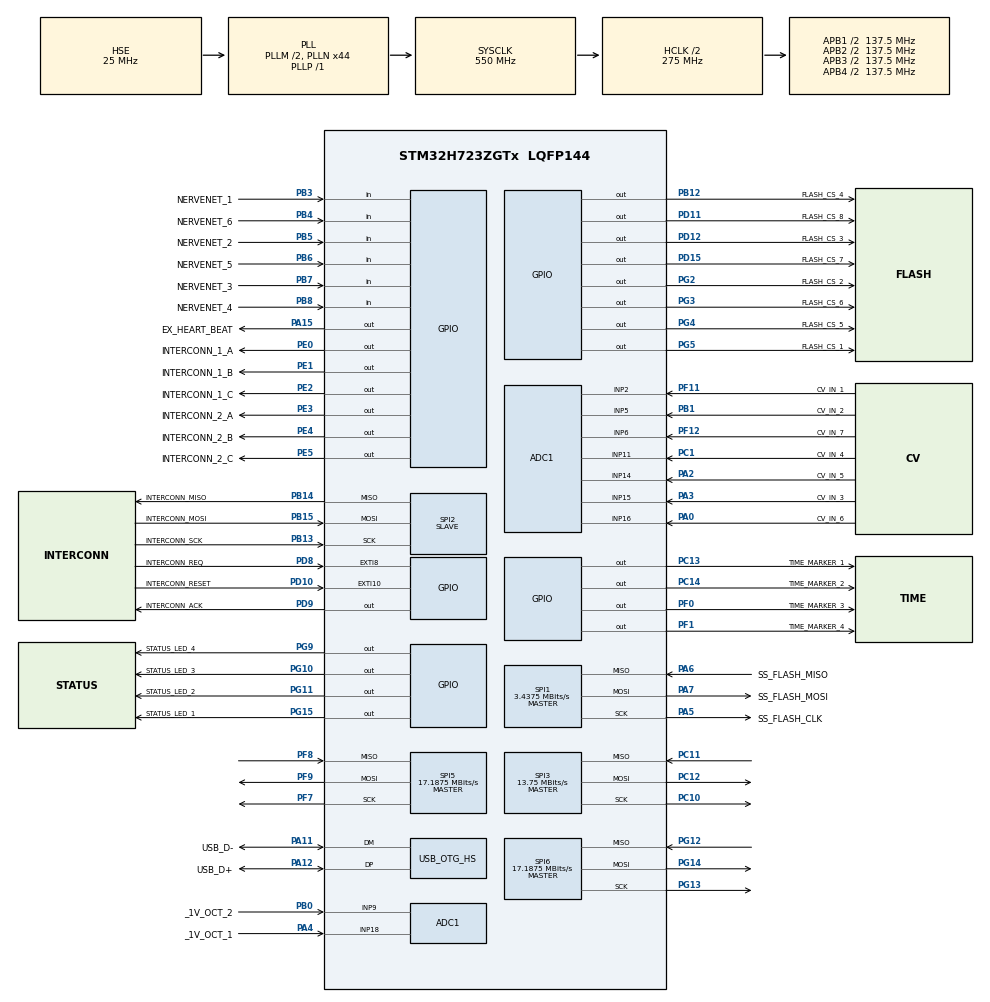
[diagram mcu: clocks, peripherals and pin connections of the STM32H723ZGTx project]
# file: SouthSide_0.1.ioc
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ADC1.Channel-0\#ChannelRegularConversion=ADC_CHANNEL_18
ADC1.Channel-1\#ChannelRegularConversion=ADC_CHANNEL_9
ADC1.Channel-2\#ChannelRegularConversion=ADC_CHANNEL_2
ADC1.Channel-3\#ChannelRegularConversion=ADC_CHANNEL_5
ADC1.Channel-4\#ChannelRegularConversion=ADC_CHANNEL_15
ADC1.Channel-5\#ChannelRegularConversion=ADC_CHANNEL_11
ADC1.Channel-6\#ChannelRegularConversion=ADC_CHANNEL_14
ADC1.Channel-7\#ChannelRegularConversion=ADC_CHANNEL_16
ADC1.Channel-8\#ChannelRegularConversion=ADC_CHANNEL_6
ADC1.ClockPrescaler=ADC_CLOCK_ASYNC_DIV4
ADC1.ContinuousConvMode=ENABLE
ADC1.ConversionDataManagement=ADC_CONVERSIONDATA_DMA_ONESHOT
ADC1.EOCSelection=ADC_EOC_SEQ_CONV
ADC1.ExternalTrigConv=ADC_SOFTWARE_START
ADC1.NbrOfConversion=9
ADC1.NbrOfConversionFlag=1
ADC1.OffsetNumber-0\#ChannelRegularConversion=ADC_OFFSET_NONE
ADC1.OffsetNumber-1\#ChannelRegularConversion=ADC_OFFSET_NONE
ADC1.OffsetNumber-2\#ChannelRegularConversion=ADC_OFFSET_NONE
ADC1.OffsetNumber-3\#ChannelRegularConversion=ADC_OFFSET_NONE
ADC1.OffsetNumber-4\#ChannelRegularConversion=ADC_OFFSET_NONE
ADC1.OffsetNumber-5\#ChannelRegularConversion=ADC_OFFSET_NONE
ADC1.OffsetNumber-6\#ChannelRegularConversion=ADC_OFFSET_NONE
ADC1.OffsetNumber-7\#ChannelRegularConversion=ADC_OFFSET_NONE
ADC1.OffsetNumber-8\#ChannelRegularConversion=ADC_OFFSET_NONE
ADC1.OffsetSignedSaturation-0\#ChannelRegularConversion=DISABLE
ADC1.OffsetSignedSaturation-1\#ChannelRegularConversion=DISABLE
ADC1.OffsetSignedSaturation-2\#ChannelRegularConversion=DISABLE
ADC1.OffsetSignedSaturation-3\#ChannelRegularConversion=DISABLE
ADC1.OffsetSignedSaturation-4\#ChannelRegularConversion=DISABLE
ADC1.OffsetSignedSaturation-5\#ChannelRegularConversion=DISABLE
ADC1.OffsetSignedSaturation-6\#ChannelRegularConversion=DISABLE
ADC1.OffsetSignedSaturation-7\#ChannelRegularConversion=DISABLE
ADC1.OffsetSignedSaturation-8\#ChannelRegularConversion=DISABLE
ADC1.Rank-0\#ChannelRegularConversion=1
ADC1.Rank-1\#ChannelRegularConversion=2
ADC1.Rank-2\#ChannelRegularConversion=3
ADC1.Rank-3\#ChannelRegularConversion=4
ADC1.Rank-4\#ChannelRegularConversion=5
ADC1.Rank-5\#ChannelRegularConversion=6
ADC1.Rank-6\#ChannelRegularConversion=7
ADC1.Rank-7\#ChannelRegularConversion=8
ADC1.Rank-8\#ChannelRegularConversion=9
ADC1.SamplingTime-0\#ChannelRegularConversion=ADC_SAMPLETIME_64CYCLES_5
ADC1.SamplingTime-1\#ChannelRegularConversion=ADC_SAMPLETIME_64CYCLES_5
ADC1.SamplingTime-2\#ChannelRegularConversion=ADC_SAMPLETIME_64CYCLES_5
ADC1.SamplingTime-3\#ChannelRegularConversion=ADC_SAMPLETIME_64CYCLES_5
ADC1.SamplingTime-4\#ChannelRegularConversion=ADC_SAMPLETIME_64CYCLES_5
ADC1.SamplingTime-5\#ChannelRegularConversion=ADC_SAMPLETIME_64CYCLES_5
ADC1.SamplingTime-6\#ChannelRegularConversion=ADC_SAMPLETIME_64CYCLES_5
ADC1.SamplingTime-7\#ChannelRegularConversion=ADC_SAMPLETIME_64CYCLES_5
ADC1.SamplingTime-8\#ChannelRegularConversion=ADC_SAMPLETIME_64CYCLES_5
ADC1.master=1
CORTEX_M7.CPU_DCache=Disabled
CORTEX_M7.CPU_ICache=Enabled
CORTEX_M7.default_mode_Activation=1
Dma.ADC1.2.Direction=DMA_PERIPH_TO_MEMORY
Dma.ADC1.2.EventEnable=DISABLE
Dma.ADC1.2.FIFOMode=DMA_FIFOMODE_DISABLE
Dma.ADC1.2.Instance=DMA2_Stream0
Dma.ADC1.2.MemDataAlignment=DMA_MDATAALIGN_HALFWORD
Dma.ADC1.2.MemInc=DMA_MINC_ENABLE
Dma.ADC1.2.Mode=DMA_NORMAL
Dma.ADC1.2.PeriphDataAlignment=DMA_PDATAALIGN_HALFWORD
Dma.ADC1.2.PeriphInc=DMA_PINC_DISABLE
Dma.ADC1.2.Polarity=HAL_DMAMUX_REQ_GEN_RISING
Dma.ADC1.2.Priority=DMA_PRIORITY_HIGH
Dma.ADC1.2.RequestNumber=1
Dma.ADC1.2.SignalID=NONE
Dma.ADC1.2.SyncEnable=DISABLE
Dma.ADC1.2.SyncPolarity=HAL_DMAMUX_SYNC_NO_EVENT
Dma.ADC1.2.SyncRequestNumber=1
Dma.ADC1.2.SyncSignalID=NONE
Dma.Request0=SPI2_RX
Dma.Request1=SPI2_TX
Dma.Request2=ADC1
Dma.SPI2_RX.0.Direction=DMA_PERIPH_TO_MEMORY
Dma.SPI2_RX.0.EventEnable=DISABLE
Dma.SPI2_RX.0.FIFOMode=DMA_FIFOMODE_DISABLE
Dma.SPI2_RX.0.Instance=DMA1_Stream0
Dma.SPI2_RX.0.MemDataAlignment=DMA_MDATAALIGN_BYTE
Dma.SPI2_RX.0.MemInc=DMA_MINC_ENABLE
Dma.SPI2_RX.0.Mode=DMA_NORMAL
Dma.SPI2_RX.0.PeriphDataAlignment=DMA_PDATAALIGN_BYTE
Dma.SPI2_RX.0.PeriphInc=DMA_PINC_DISABLE
Dma.SPI2_RX.0.Polarity=HAL_DMAMUX_REQ_GEN_RISING
Dma.SPI2_RX.0.Priority=DMA_PRIORITY_VERY_HIGH
Dma.SPI2_RX.0.RequestNumber=1
Dma.SPI2_RX.0.SignalID=NONE
Dma.SPI2_RX.0.SyncEnable=DISABLE
Dma.SPI2_RX.0.SyncPolarity=HAL_DMAMUX_SYNC_NO_EVENT
Dma.SPI2_RX.0.SyncRequestNumber=1
Dma.SPI2_RX.0.SyncSignalID=NONE
Dma.SPI2_TX.1.Direction=DMA_MEMORY_TO_PERIPH
Dma.SPI2_TX.1.EventEnable=DISABLE
Dma.SPI2_TX.1.FIFOMode=DMA_FIFOMODE_DISABLE
Dma.SPI2_TX.1.Instance=DMA1_Stream1
Dma.SPI2_TX.1.MemDataAlignment=DMA_MDATAALIGN_BYTE
Dma.SPI2_TX.1.MemInc=DMA_MINC_ENABLE
Dma.SPI2_TX.1.Mode=DMA_NORMAL
Dma.SPI2_TX.1.PeriphDataAlignment=DMA_PDATAALIGN_BYTE
Dma.SPI2_TX.1.PeriphInc=DMA_PINC_DISABLE
Dma.SPI2_TX.1.Polarity=HAL_DMAMUX_REQ_GEN_RISING
Dma.SPI2_TX.1.Priority=DMA_PRIORITY_VERY_HIGH
Dma.SPI2_TX.1.RequestNumber=1
Dma.SPI2_TX.1.SignalID=NONE
Dma.SPI2_TX.1.SyncEnable=DISABLE
Dma.SPI2_TX.1.SyncPolarity=HAL_DMAMUX_SYNC_NO_EVENT
Dma.SPI2_TX.1.SyncRequestNumber=1
Dma.SPI2_TX.1.SyncSignalID=NONE
FREERTOS.Tasks01=defaultTask,24,128,StartDefaultTask,Default,NULL,Dynamic,NULL,NULL
FREERTOS.configENABLE_FPU=1
FREERTOS.configTOTAL_HEAP_SIZE=32768
FREERTOS.configUSE_NEWLIB_REENTRANT=1
Mcu.Family=STM32H7
Mcu.Name=STM32H723ZGTx
Mcu.Package=LQFP144
NVIC.DMA1_Stream0_IRQn=true\:5\:0\:false\:false\:true\:false\:false\:true\:true
NVIC.DMA1_Stream1_IRQn=true\:5\:0\:false\:false\:true\:false\:false\:true\:true
NVIC.DMA2_Stream0_IRQn=true\:5\:0\:false\:false\:true\:true\:false\:true\:true
NVIC.EXTI15_10_IRQn=true\:5\:0\:false\:false\:true\:true\:true\:true\:true
NVIC.EXTI9_5_IRQn=true\:5\:0\:false\:false\:true\:true\:true\:true\:true
NVIC.PriorityGroup=NVIC_PRIORITYGROUP_4
NVIC.SPI2_IRQn=true\:5\:0\:false\:false\:true\:true\:false\:true\:true
NVIC.TIM15_IRQn=true\:5\:0\:false\:false\:true\:false\:true\:true\:true
NVIC.TIM1_UP_IRQn=true\:15\:0\:false\:false\:true\:false\:false\:true\:true
NVIC.TIM3_IRQn=true\:5\:0\:true\:false\:true\:false\:true\:true\:true
NVIC.TimeBase=TIM1_UP_IRQn
NVIC.TimeBaseIP=TIM1
PA0.GPIO_Label=CV_IN_6
PA0.Mode=IN16-Single-Ended
PA0.Signal=ADC1_INP16
PA11.GPIO_Label=USB_D-
PA11.Mode=Device_Only_FS
PA11.Signal=USB_OTG_HS_DM
PA12.GPIO_Label=USB_D+
PA12.Mode=Device_Only_FS
PA12.Signal=USB_OTG_HS_DP
PA13(JTMS/SWDIO).Mode=Serial_Wire
PA13(JTMS/SWDIO).Signal=DEBUG_JTMS-SWDIO
PA14(JTCK/SWCLK).Mode=Serial_Wire
PA14(JTCK/SWCLK).Signal=DEBUG_JTCK-SWCLK
PA15(JTDI).GPIO_Label=EX_HEART_BEAT
PA15(JTDI).GPIO_ModeDefaultOutputPP=GPIO_MODE_OUTPUT_OD
PA15(JTDI).GPIO_PuPd=GPIO_NOPULL
PA15(JTDI).PinState=GPIO_PIN_SET
PA15(JTDI).Signal=GPIO_Output
PA2.GPIO_Label=CV_IN_5
PA2.Signal=ADCx_INP14
PA3.GPIO_Label=CV_IN_3
PA3.Signal=ADCx_INP15
PA4.GPIO_Label=_1V_OCT_1
PA4.Signal=ADCx_INP18
PA5.GPIO_Label=SS_FLASH_CLK
PA5.Mode=Full_Duplex_Master
PA5.Signal=SPI1_SCK
PA6.GPIO_Label=SS_FLASH_MISO
PA6.Mode=Full_Duplex_Master
PA6.Signal=SPI1_MISO
PA7.GPIO_Label=SS_FLASH_MOSI
PA7.Mode=Full_Duplex_Master
PA7.Signal=SPI1_MOSI
PB0.GPIO_Label=_1V_OCT_2
PB0.Signal=SharedAnalog_PB0
PB1.GPIO_Label=CV_IN_2
PB1.Signal=ADCx_INP5
PB12.GPIO_Label=FLASH_CS_4
PB12.GPIO_Speed=GPIO_SPEED_FREQ_MEDIUM
PB12.PinState=GPIO_PIN_SET
PB12.Signal=GPIO_Output
PB13.GPIO_Label=INTERCONN_SCK
PB13.Mode=Full_Duplex_Slave
PB13.Signal=SPI2_SCK
PB14.GPIO_Label=INTERCONN_MISO
PB14.Mode=Full_Duplex_Slave
PB14.Signal=SPI2_MISO
PB15.GPIO_Label=INTERCONN_MOSI
PB15.Mode=Full_Duplex_Slave
PB15.Signal=SPI2_MOSI
PB3(JTDO/TRACESWO).GPIO_Label=NERVENET_1
PB3(JTDO/TRACESWO).Signal=GPIO_Input
PB4(NJTRST).GPIO_Label=NERVENET_6
PB4(NJTRST).Signal=GPIO_Input
PB5.GPIO_Label=NERVENET_2
PB5.Signal=GPIO_Input
PB6.GPIO_Label=NERVENET_5
PB6.Signal=GPIO_Input
PB7.GPIO_Label=NERVENET_3
PB7.Signal=GPIO_Input
PB8.GPIO_Label=NERVENET_4
PB8.Signal=GPIO_Input
PC1.GPIO_Label=CV_IN_4
PC1.Signal=ADCx_INP11
PC10.Mode=Full_Duplex_Master
PC10.Signal=SPI3_SCK
PC11.Mode=Full_Duplex_Master
PC11.Signal=SPI3_MISO
PC12.Mode=Full_Duplex_Master
PC12.Signal=SPI3_MOSI
PC13.GPIO_Label=TIME_MARKER_1
PC13.Signal=GPIO_Output
PC14-OSC32_IN.GPIO_Label=TIME_MARKER_2
PC14-OSC32_IN.Signal=GPIO_Output
PD10.GPIO_Label=INTERCONN_RESET
PD10.GPIO_ModeDefaultEXTI=GPIO_MODE_IT_FALLING
PD10.Signal=GPXTI10
PD11.GPIO_Label=FLASH_CS_8
PD11.GPIO_Speed=GPIO_SPEED_FREQ_MEDIUM
PD11.PinState=GPIO_PIN_SET
PD11.Signal=GPIO_Output
PD12.GPIO_Label=FLASH_CS_3
PD12.GPIO_Speed=GPIO_SPEED_FREQ_MEDIUM
PD12.PinState=GPIO_PIN_SET
PD12.Signal=GPIO_Output
PD15.GPIO_Label=FLASH_CS_7
PD15.GPIO_Speed=GPIO_SPEED_FREQ_MEDIUM
PD15.PinState=GPIO_PIN_SET
PD15.Signal=GPIO_Output
PD8.GPIO_Label=INTERCONN_REQ
PD8.GPIO_ModeDefaultEXTI=GPIO_MODE_IT_RISING_FALLING
PD8.Signal=GPXTI8
PD9.GPIO_Label=INTERCONN_ACK
PD9.GPIO_PuPd=GPIO_PULLDOWN
PD9.GPIO_Speed=GPIO_SPEED_FREQ_MEDIUM
PD9.PinState=GPIO_PIN_RESET
PD9.Signal=GPIO_Output
PE0.GPIO_Label=INTERCONN_1_A
PE0.Signal=GPIO_Output
PE1.GPIO_Label=INTERCONN_1_B
PE1.Signal=GPIO_Output
PE2.GPIO_Label=INTERCONN_1_C
PE2.Signal=GPIO_Output
PE3.GPIO_Label=INTERCONN_2_A
PE3.Signal=GPIO_Output
PE4.GPIO_Label=INTERCONN_2_B
PE4.Signal=GPIO_Output
PE5.GPIO_Label=INTERCONN_2_C
PE5.Signal=GPIO_Output
PF0.GPIO_Label=TIME_MARKER_3
PF0.Signal=GPIO_Output
PF1.GPIO_Label=TIME_MARKER_4
PF1.Signal=GPIO_Output
PF11.GPIO_Label=CV_IN_1
PF11.Mode=IN2-Single-Ended
PF11.Signal=ADC1_INP2
PF12.GPIO_Label=CV_IN_7
PF12.Mode=IN6-Single-Ended
PF12.Signal=ADC1_INP6
PF13.GPIO_Label=_1V_OCT_2b
PF13.Signal=ADC2_INP2
PF14.Signal=ADC2_INP6
PF5.GPIO_Label=IN_CV_2
PF5.Signal=ADC3_INP4
PF7.Mode=Full_Duplex_Master
PF7.Signal=SPI5_SCK
PF8.Mode=Full_Duplex_Master
PF8.Signal=SPI5_MISO
PF9.Mode=Full_Duplex_Master
PF9.Signal=SPI5_MOSI
PG10.GPIO_Label=STATUS_LED_3
PG10.GPIO_ModeDefaultOutputPP=GPIO_MODE_OUTPUT_OD
PG10.GPIO_PuPd=GPIO_NOPULL
PG10.PinState=GPIO_PIN_SET
PG10.Signal=GPIO_Output
PG11.GPIO_Label=STATUS_LED_2
PG11.GPIO_ModeDefaultOutputPP=GPIO_MODE_OUTPUT_OD
PG11.GPIO_PuPd=GPIO_NOPULL
PG11.PinState=GPIO_PIN_SET
PG11.Signal=GPIO_Output
PG12.Mode=Full_Duplex_Master
PG12.Signal=SPI6_MISO
PG13.Mode=Full_Duplex_Master
PG13.Signal=SPI6_SCK
PG14.Mode=Full_Duplex_Master
PG14.Signal=SPI6_MOSI
PG15.GPIO_Label=STATUS_LED_1
PG15.GPIO_ModeDefaultOutputPP=GPIO_MODE_OUTPUT_OD
PG15.GPIO_PuPd=GPIO_NOPULL
PG15.PinState=GPIO_PIN_SET
PG15.Signal=GPIO_Output
PG2.GPIO_Label=FLASH_CS_2
PG2.GPIO_Speed=GPIO_SPEED_FREQ_MEDIUM
PG2.PinState=GPIO_PIN_SET
PG2.Signal=GPIO_Output
PG3.GPIO_Label=FLASH_CS_6
PG3.GPIO_Speed=GPIO_SPEED_FREQ_MEDIUM
PG3.PinState=GPIO_PIN_SET
PG3.Signal=GPIO_Output
PG4.GPIO_Label=FLASH_CS_5
PG4.GPIO_Speed=GPIO_SPEED_FREQ_MEDIUM
PG4.PinState=GPIO_PIN_SET
PG4.Signal=GPIO_Output
PG5.GPIO_Label=FLASH_CS_1
PG5.GPIO_Speed=GPIO_SPEED_FREQ_MEDIUM
PG5.PinState=GPIO_PIN_SET
PG5.Signal=GPIO_Output
PG9.GPIO_Label=STATUS_LED_4
PG9.GPIO_ModeDefaultOutputPP=GPIO_MODE_OUTPUT_OD
PG9.GPIO_PuPd=GPIO_NOPULL
PG9.PinState=GPIO_PIN_SET
PG9.Signal=GPIO_Output
PH0-OSC_IN.Mode=HSE-External-Oscillator
PH0-OSC_IN.Signal=RCC_OSC_IN
PH1-OSC_OUT.Mode=HSE-External-Oscillator
PH1-OSC_OUT.Signal=RCC_OSC_OUT
ProjectManager.HeapSize=0x200
ProjectManager.StackSize=0x400
ProjectManager.TargetToolchain=STM32CubeIDE
RCC.ADCFreq_Value=100000000
RCC.APB1Freq_Value=137500000
RCC.APB2Freq_Value=137500000
RCC.APB3Freq_Value=137500000
RCC.APB4Freq_Value=137500000
RCC.CortexFreq_Value=550000000
RCC.D1PPRE=RCC_APB3_DIV2
RCC.D2PPRE1=RCC_APB1_DIV2
RCC.D2PPRE2=RCC_APB2_DIV2
RCC.D3PPRE=RCC_APB4_DIV2
RCC.DIVM1=2
RCC.DIVM2=2
RCC.DIVN1=44
RCC.DIVN2=16
RCC.DIVP1=1
RCC.DIVQ1=5
RCC.HCLKFreq_Value=275000000
RCC.HPRE=RCC_HCLK_DIV2
RCC.PLL2FRACN=0
RCC.PLL3FRACN=0
RCC.PLLFRACN=0
RCC.SYSCLKFreq_VALUE=550000000
RCC.SYSCLKSource=RCC_SYSCLKSOURCE_PLLCLK
RCC.USBFreq_Value=110000000
SH.ADCx_INP11.0=ADC1_INP11,IN11-Single-Ended
SH.ADCx_INP14.0=ADC1_INP14,IN14-Single-Ended
SH.ADCx_INP15.0=ADC1_INP15,IN15-Single-Ended
SH.ADCx_INP18.0=ADC1_INP18,IN18-Single-Ended
SH.ADCx_INP5.0=ADC1_INP5,IN5-Single-Ended
SH.SharedAnalog_PB0.0=ADC1_INN5
SH.SharedAnalog_PB0.1=ADC1_INP9,IN9-Single-Ended
SPI1.BaudRatePrescaler=SPI_BAUDRATEPRESCALER_32
SPI1.CalculateBaudRate=3.4375 MBits/s
SPI1.DataSize=SPI_DATASIZE_8BIT
SPI1.Direction=SPI_DIRECTION_2LINES
SPI1.Mode=SPI_MODE_MASTER
SPI1.VirtualType=VM_MASTER
SPI2.DataSize=SPI_DATASIZE_8BIT
SPI2.Direction=SPI_DIRECTION_2LINES
SPI2.Mode=SPI_MODE_SLAVE
SPI2.VirtualType=VM_SLAVE
SPI3.BaudRatePrescaler=SPI_BAUDRATEPRESCALER_8
SPI3.CalculateBaudRate=13.75 MBits/s
SPI3.DataSize=SPI_DATASIZE_8BIT
SPI3.Direction=SPI_DIRECTION_2LINES
SPI3.Mode=SPI_MODE_MASTER
SPI3.VirtualType=VM_MASTER
SPI5.BaudRatePrescaler=SPI_BAUDRATEPRESCALER_8
SPI5.CalculateBaudRate=17.1875 MBits/s
SPI5.DataSize=SPI_DATASIZE_8BIT
SPI5.Direction=SPI_DIRECTION_2LINES
SPI5.Mode=SPI_MODE_MASTER
SPI5.VirtualType=VM_MASTER
SPI6.BaudRatePrescaler=SPI_BAUDRATEPRESCALER_8
SPI6.CalculateBaudRate=17.1875 MBits/s
SPI6.DataSize=SPI_DATASIZE_8BIT
SPI6.Direction=SPI_DIRECTION_2LINES
SPI6.Mode=SPI_MODE_MASTER
SPI6.VirtualType=VM_MASTER
TIM15.Period=1000 - 1
TIM15.Prescaler=1000 - 1
TIM2.Period=10 - 1
TIM2.Prescaler=2750 - 1
TIM3.Period=50 - 1
TIM3.Prescaler=27500 - 1
TIM5.Period=1000000000 - 1
TIM5.Prescaler=275 - 1
USB_OTG_HS.VirtualMode-Device_Only_FS=Device_Only_FS
VP_FREERTOS_VS_CMSIS_V2.Mode=CMSIS_V2
VP_MEMORYMAP_VS_MEMORYMAP.Mode=CurAppReg
VP_SYS_VS_tim1.Mode=TIM1
VP_TIM15_VS_ClockSourceINT.Mode=Internal
VP_TIM2_VS_ClockSourceINT.Mode=Internal
VP_TIM3_VS_ClockSourceINT.Mode=Internal
VP_TIM5_VS_ClockSourceINT.Mode=Internal
board=custom

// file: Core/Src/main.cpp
/* USER CODE BEGIN Header */
/**
  ******************************************************************************
  * @file           : main.c
  * @brief          : Main program body
  ******************************************************************************
  * @attention
  *
  * Copyright (c) 2024 STMicroelectronics.
  * All rights reserved.
  *
  * This software is licensed under terms that can be found in the LICENSE file
  * in the root directory of this software component.
  * If no LICENSE file comes with this software, it is provided AS-IS.
  *
  ******************************************************************************
  */
/* USER CODE END Header */
#include "main.h"
#include "cmsis_os.h"

/* USER CODE BEGIN Includes */

#include "Utilities/CallbackHandlers.h"

#include "Threads/TriggerThread.h"

#include "NerveNet/NerveNetConfig.h"
#include "NerveNet/NerveNetMasterThread.h"
#include "NerveNet/NerveNetSlaveThread.h"

#include "SouthSideAudioProcessor.h"

#include "Drivers/NVM Drivers/W25Q64 Driver/W25Qxx_Driver.h"
#include "Threads/TLV_DriverThread.h"

#include "YellowPages.h"

/* USER CODE END Includes */

ADC_HandleTypeDef hadc1;
DMA_HandleTypeDef hdma_adc1;

SPI_HandleTypeDef hspi1;
SPI_HandleTypeDef hspi2;
SPI_HandleTypeDef hspi3;
SPI_HandleTypeDef hspi5;
SPI_HandleTypeDef hspi6;
DMA_HandleTypeDef hdma_spi2_rx;
DMA_HandleTypeDef hdma_spi2_tx;

TIM_HandleTypeDef htim2;
TIM_HandleTypeDef htim3;
TIM_HandleTypeDef htim5;
TIM_HandleTypeDef htim15;

PCD_HandleTypeDef hpcd_USB_OTG_HS;

/* Definitions for defaultTask */
osThreadId_t defaultTaskHandle;
const osThreadAttr_t defaultTask_attributes = {
  .name = "defaultTask",
  .stack_size = 128 * 4,
  .priority = (osPriority_t) osPriorityNormal,
};

void SystemClock_Config(void);
static void MPU_Config(void);
static void MX_GPIO_Init(void);
static void MX_DMA_Init(void);
static void MX_USB_OTG_HS_PCD_Init(void);
static void MX_SPI1_Init(void);
static void MX_SPI2_Init(void);
static void MX_SPI3_Init(void);
static void MX_SPI5_Init(void);
static void MX_SPI6_Init(void);
static void MX_TIM5_Init(void);
static void MX_TIM2_Init(void);
static void MX_TIM3_Init(void);
static void MX_TIM15_Init(void);
static void MX_ADC1_Init(void);
void StartDefaultTask(void *argument);

/* USER CODE BEGIN 0 */

/*
 * displayStatus()
 */
void displayStatus (eStatusCodes status)
{
	uint32_t code = (uint32_t)status;
	HAL_GPIO_WritePin(GPIOG, STATUS_LED_2_Pin | STATUS_LED_1_Pin, GPIO_PIN_SET);
	HAL_GPIO_WritePin(GPIOG, STATUS_LED_4_Pin | STATUS_LED_3_Pin, GPIO_PIN_SET);
	if (code & 0x00000001)
		HAL_GPIO_WritePin ( GPIOG, STATUS_LED_1_Pin, GPIO_PIN_RESET );
	if (code & 0x00000002)
		HAL_GPIO_WritePin ( GPIOG, STATUS_LED_2_Pin, GPIO_PIN_RESET );
	if (code & 0x00000004)
		HAL_GPIO_WritePin ( GPIOG, STATUS_LED_3_Pin, GPIO_PIN_RESET );
	if (code & 0x00000008)
		HAL_GPIO_WritePin ( GPIOG, STATUS_LED_4_Pin, GPIO_PIN_RESET );
}

/*
 * Time marker functions used for performance measurement using a logic analyzer
 */
void toggleTimeMarker_1()
{
	HAL_GPIO_TogglePin(GPIOC, TIME_MARKER_1_Pin);
}

void setTimeMarker_1()
{
	HAL_GPIO_WritePin(GPIOC, TIME_MARKER_1_Pin, GPIO_PIN_SET);
}

void resetTimeMarker_1()
{
	HAL_GPIO_WritePin(GPIOC, TIME_MARKER_1_Pin, GPIO_PIN_RESET);
}

void toggleTimeMarker_2()
{
	HAL_GPIO_TogglePin(GPIOC, TIME_MARKER_2_Pin);
}

void setTimeMarker_2()
{
	HAL_GPIO_WritePin(GPIOC, TIME_MARKER_2_Pin, GPIO_PIN_SET);
}

void resetTimeMarker_2()
{
	HAL_GPIO_WritePin(GPIOC, TIME_MARKER_2_Pin, GPIO_PIN_RESET);
}

void toggleTimeMarker_3()
{
	HAL_GPIO_TogglePin(GPIOF, TIME_MARKER_3_Pin);
}

void setTimeMarker_3()
{
	HAL_GPIO_WritePin(GPIOF, TIME_MARKER_3_Pin, GPIO_PIN_SET);
}

void resetTimeMarker_3()
{
	HAL_GPIO_WritePin(GPIOF, TIME_MARKER_3_Pin, GPIO_PIN_RESET);
}

void toggleTimeMarker_4()
{
	HAL_GPIO_TogglePin(GPIOF, TIME_MARKER_4_Pin);
}

void setTimeMarker_4()
{
	HAL_GPIO_WritePin(GPIOF, TIME_MARKER_4_Pin, GPIO_PIN_SET);
}

void resetTimeMarker_4()
{
	HAL_GPIO_WritePin(GPIOF, TIME_MARKER_4_Pin, GPIO_PIN_RESET);
}

//static CasualNoises::TLV_Driver* TLV_DriverPtr = nullptr;
//void* getTLV_DriverPtr()
//{
//	return TLV_DriverPtr;
//}

/* USER CODE END 0 */

int main(void)
{

  /* MPU Configuration--------------------------------------------------------*/
  MPU_Config();

  /* Enable the CPU Cache */

  /* Enable I-Cache---------------------------------------------------------*/
  SCB_EnableICache();

  /* MCU Configuration--------------------------------------------------------*/

  /* Reset of all peripherals, Initializes the Flash interface and the Systick. */
  HAL_Init();

  /* Configure the system clock */
  SystemClock_Config();

  /* Initialize all configured peripherals */
  MX_GPIO_Init();
  MX_DMA_Init();
  MX_USB_OTG_HS_PCD_Init();
  MX_SPI1_Init();
  MX_SPI2_Init();
  MX_SPI3_Init();
  MX_SPI5_Init();
  MX_SPI6_Init();
  MX_TIM5_Init();
  MX_TIM2_Init();
  MX_TIM3_Init();
  MX_TIM15_Init();
  MX_ADC1_Init();
  /* USER CODE BEGIN 2 */

  HAL_TIM_Base_Start_IT(&htim3);			// ToDo: do this in the appropriate gate/trigger thread
  HAL_TIM_Base_Start_IT(&htim15);			// ToDo: remove this, timer 15 is not used

  /* USER CODE END 2 */

  /* Init scheduler */
  osKernelInitialize();

  /* Create the thread(s) */
  /* creation of defaultTask */
  defaultTaskHandle = osThreadNew(StartDefaultTask, NULL, &defaultTask_attributes);

  /* Start scheduler */
  osKernelStart();

  /* We should never get here as control is now taken by the scheduler */

  /* Infinite loop */
  while (1)
  {

  }
}

void SystemClock_Config(void)
{
  RCC_OscInitTypeDef RCC_OscInitStruct = {0};
  RCC_ClkInitTypeDef RCC_ClkInitStruct = {0};

  /** Supply configuration update enable
  */
  HAL_PWREx_ConfigSupply(PWR_LDO_SUPPLY);

  /** Configure the main internal regulator output voltage
  */
  __HAL_PWR_VOLTAGESCALING_CONFIG(PWR_REGULATOR_VOLTAGE_SCALE0);

  while(!__HAL_PWR_GET_FLAG(PWR_FLAG_VOSRDY)) {}

  /** Initializes the RCC Oscillators according to the specified parameters
  * in the RCC_OscInitTypeDef structure.
  */
  RCC_OscInitStruct.OscillatorType = RCC_OSCILLATORTYPE_HSE;
  RCC_OscInitStruct.HSEState = RCC_HSE_ON;
  RCC_OscInitStruct.PLL.PLLState = RCC_PLL_ON;
  RCC_OscInitStruct.PLL.PLLSource = RCC_PLLSOURCE_HSE;
  RCC_OscInitStruct.PLL.PLLM = 2;
  RCC_OscInitStruct.PLL.PLLN = 44;
  RCC_OscInitStruct.PLL.PLLP = 1;
  RCC_OscInitStruct.PLL.PLLQ = 5;
  RCC_OscInitStruct.PLL.PLLR = 2;
  RCC_OscInitStruct.PLL.PLLRGE = RCC_PLL1VCIRANGE_3;
  RCC_OscInitStruct.PLL.PLLVCOSEL = RCC_PLL1VCOWIDE;
  RCC_OscInitStruct.PLL.PLLFRACN = 0;
  if (HAL_RCC_OscConfig(&RCC_OscInitStruct) != HAL_OK)
  {
    Error_Handler();
  }

  /** Initializes the CPU, AHB and APB buses clocks
  */
  RCC_ClkInitStruct.ClockType = RCC_CLOCKTYPE_HCLK|RCC_CLOCKTYPE_SYSCLK
                              |RCC_CLOCKTYPE_PCLK1|RCC_CLOCKTYPE_PCLK2
                              |RCC_CLOCKTYPE_D3PCLK1|RCC_CLOCKTYPE_D1PCLK1;
  RCC_ClkInitStruct.SYSCLKSource = RCC_SYSCLKSOURCE_PLLCLK;
  RCC_ClkInitStruct.SYSCLKDivider = RCC_SYSCLK_DIV1;
  RCC_ClkInitStruct.AHBCLKDivider = RCC_HCLK_DIV2;
  RCC_ClkInitStruct.APB3CLKDivider = RCC_APB3_DIV2;
  RCC_ClkInitStruct.APB1CLKDivider = RCC_APB1_DIV2;
  RCC_ClkInitStruct.APB2CLKDivider = RCC_APB2_DIV2;
  RCC_ClkInitStruct.APB4CLKDivider = RCC_APB4_DIV2;

  if (HAL_RCC_ClockConfig(&RCC_ClkInitStruct, FLASH_LATENCY_3) != HAL_OK)
  {
    Error_Handler();
  }
}

static void MX_ADC1_Init(void)
{

  ADC_MultiModeTypeDef multimode = {0};
  ADC_ChannelConfTypeDef sConfig = {0};

  /** Common config
  */
  hadc1.Instance = ADC1;
  hadc1.Init.ClockPrescaler = ADC_CLOCK_ASYNC_DIV4;
  hadc1.Init.Resolution = ADC_RESOLUTION_16B;
  hadc1.Init.ScanConvMode = ADC_SCAN_ENABLE;
  hadc1.Init.EOCSelection = ADC_EOC_SEQ_CONV;
  hadc1.Init.LowPowerAutoWait = DISABLE;
  hadc1.Init.ContinuousConvMode = ENABLE;
  hadc1.Init.NbrOfConversion = 9;
  hadc1.Init.DiscontinuousConvMode = DISABLE;
  hadc1.Init.ExternalTrigConv = ADC_SOFTWARE_START;
  hadc1.Init.ExternalTrigConvEdge = ADC_EXTERNALTRIGCONVEDGE_NONE;
  hadc1.Init.ConversionDataManagement = ADC_CONVERSIONDATA_DMA_ONESHOT;
  hadc1.Init.Overrun = ADC_OVR_DATA_PRESERVED;
  hadc1.Init.LeftBitShift = ADC_LEFTBITSHIFT_NONE;
  hadc1.Init.OversamplingMode = DISABLE;
  hadc1.Init.Oversampling.Ratio = 1;
  if (HAL_ADC_Init(&hadc1) != HAL_OK)
  {
    Error_Handler();
  }

  /** Configure the ADC multi-mode
  */
  multimode.Mode = ADC_MODE_INDEPENDENT;
  if (HAL_ADCEx_MultiModeConfigChannel(&hadc1, &multimode) != HAL_OK)
  {
    Error_Handler();
  }

  /** Configure Regular Channel
  */
  sConfig.Channel = ADC_CHANNEL_18;
  sConfig.Rank = ADC_REGULAR_RANK_1;
  sConfig.SamplingTime = ADC_SAMPLETIME_64CYCLES_5;
  sConfig.SingleDiff = ADC_SINGLE_ENDED;
  sConfig.OffsetNumber = ADC_OFFSET_NONE;
  sConfig.Offset = 0;
  sConfig.OffsetSignedSaturation = DISABLE;
  if (HAL_ADC_ConfigChannel(&hadc1, &sConfig) != HAL_OK)
  {
    Error_Handler();
  }

  /** Configure Regular Channel
  */
  sConfig.Channel = ADC_CHANNEL_9;
  sConfig.Rank = ADC_REGULAR_RANK_2;
  if (HAL_ADC_ConfigChannel(&hadc1, &sConfig) != HAL_OK)
  {
    Error_Handler();
  }

  /** Configure Regular Channel
  */
  sConfig.Channel = ADC_CHANNEL_2;
  sConfig.Rank = ADC_REGULAR_RANK_3;
  if (HAL_ADC_ConfigChannel(&hadc1, &sConfig) != HAL_OK)
  {
    Error_Handler();
  }

  /** Configure Regular Channel
  */
  sConfig.Channel = ADC_CHANNEL_5;
  sConfig.Rank = ADC_REGULAR_RANK_4;
  if (HAL_ADC_ConfigChannel(&hadc1, &sConfig) != HAL_OK)
  {
    Error_Handler();
  }

  /** Configure Regular Channel
  */
  sConfig.Channel = ADC_CHANNEL_15;
  sConfig.Rank = ADC_REGULAR_RANK_5;
  if (HAL_ADC_ConfigChannel(&hadc1, &sConfig) != HAL_OK)
  {
    Error_Handler();
  }

  /** Configure Regular Channel
  */
  sConfig.Channel = ADC_CHANNEL_11;
  sConfig.Rank = ADC_REGULAR_RANK_6;
  if (HAL_ADC_ConfigChannel(&hadc1, &sConfig) != HAL_OK)
  {
    Error_Handler();
  }

  /** Configure Regular Channel
  */
  sConfig.Channel = ADC_CHANNEL_14;
  sConfig.Rank = ADC_REGULAR_RANK_7;
  if (HAL_ADC_ConfigChannel(&hadc1, &sConfig) != HAL_OK)
  {
    Error_Handler();
  }

  /** Configure Regular Channel
  */
  sConfig.Channel = ADC_CHANNEL_16;
  sConfig.Rank = ADC_REGULAR_RANK_8;
  if (HAL_ADC_ConfigChannel(&hadc1, &sConfig) != HAL_OK)
  {
    Error_Handler();
  }

  /** Configure Regular Channel
  */
  sConfig.Channel = ADC_CHANNEL_6;
  sConfig.Rank = ADC_REGULAR_RANK_9;
  if (HAL_ADC_ConfigChannel(&hadc1, &sConfig) != HAL_OK)
  {
    Error_Handler();
  }

}

static void MX_SPI1_Init(void)
{

  /* SPI1 parameter configuration*/
  hspi1.Instance = SPI1;
  hspi1.Init.Mode = SPI_MODE_MASTER;
  hspi1.Init.Direction = SPI_DIRECTION_2LINES;
  hspi1.Init.DataSize = SPI_DATASIZE_8BIT;
  hspi1.Init.CLKPolarity = SPI_POLARITY_LOW;
  hspi1.Init.CLKPhase = SPI_PHASE_1EDGE;
  hspi1.Init.NSS = SPI_NSS_SOFT;
  hspi1.Init.BaudRatePrescaler = SPI_BAUDRATEPRESCALER_32;
  hspi1.Init.FirstBit = SPI_FIRSTBIT_MSB;
  hspi1.Init.TIMode = SPI_TIMODE_DISABLE;
  hspi1.Init.CRCCalculation = SPI_CRCCALCULATION_DISABLE;
  hspi1.Init.CRCPolynomial = 0x0;
  hspi1.Init.NSSPMode = SPI_NSS_PULSE_ENABLE;
  hspi1.Init.NSSPolarity = SPI_NSS_POLARITY_LOW;
  hspi1.Init.FifoThreshold = SPI_FIFO_THRESHOLD_01DATA;
  hspi1.Init.TxCRCInitializationPattern = SPI_CRC_INITIALIZATION_ALL_ZERO_PATTERN;
  hspi1.Init.RxCRCInitializationPattern = SPI_CRC_INITIALIZATION_ALL_ZERO_PATTERN;
  hspi1.Init.MasterSSIdleness = SPI_MASTER_SS_IDLENESS_00CYCLE;
  hspi1.Init.MasterInterDataIdleness = SPI_MASTER_INTERDATA_IDLENESS_00CYCLE;
  hspi1.Init.MasterReceiverAutoSusp = SPI_MASTER_RX_AUTOSUSP_DISABLE;
  hspi1.Init.MasterKeepIOState = SPI_MASTER_KEEP_IO_STATE_DISABLE;
  hspi1.Init.IOSwap = SPI_IO_SWAP_DISABLE;
  if (HAL_SPI_Init(&hspi1) != HAL_OK)
  {
    Error_Handler();
  }

}

static void MX_SPI2_Init(void)
{

  /* SPI2 parameter configuration*/
  hspi2.Instance = SPI2;
  hspi2.Init.Mode = SPI_MODE_SLAVE;
  hspi2.Init.Direction = SPI_DIRECTION_2LINES;
  hspi2.Init.DataSize = SPI_DATASIZE_8BIT;
  hspi2.Init.CLKPolarity = SPI_POLARITY_LOW;
  hspi2.Init.CLKPhase = SPI_PHASE_1EDGE;
  hspi2.Init.NSS = SPI_NSS_SOFT;
  hspi2.Init.FirstBit = SPI_FIRSTBIT_MSB;
  hspi2.Init.TIMode = SPI_TIMODE_DISABLE;
  hspi2.Init.CRCCalculation = SPI_CRCCALCULATION_DISABLE;
  hspi2.Init.CRCPolynomial = 0x0;
  hspi2.Init.NSSPMode = SPI_NSS_PULSE_DISABLE;
  hspi2.Init.NSSPolarity = SPI_NSS_POLARITY_LOW;
  hspi2.Init.FifoThreshold = SPI_FIFO_THRESHOLD_01DATA;
  hspi2.Init.TxCRCInitializationPattern = SPI_CRC_INITIALIZATION_ALL_ZERO_PATTERN;
  hspi2.Init.RxCRCInitializationPattern = SPI_CRC_INITIALIZATION_ALL_ZERO_PATTERN;
  hspi2.Init.MasterSSIdleness = SPI_MASTER_SS_IDLENESS_00CYCLE;
  hspi2.Init.MasterInterDataIdleness = SPI_MASTER_INTERDATA_IDLENESS_00CYCLE;
  hspi2.Init.MasterReceiverAutoSusp = SPI_MASTER_RX_AUTOSUSP_DISABLE;
  hspi2.Init.MasterKeepIOState = SPI_MASTER_KEEP_IO_STATE_DISABLE;
  hspi2.Init.IOSwap = SPI_IO_SWAP_DISABLE;
  if (HAL_SPI_Init(&hspi2) != HAL_OK)
  {
    Error_Handler();
  }

}

static void MX_SPI3_Init(void)
{

  /* SPI3 parameter configuration*/
  hspi3.Instance = SPI3;
  hspi3.Init.Mode = SPI_MODE_MASTER;
  hspi3.Init.Direction = SPI_DIRECTION_2LINES;
  hspi3.Init.DataSize = SPI_DATASIZE_8BIT;
  hspi3.Init.CLKPolarity = SPI_POLARITY_LOW;
  hspi3.Init.CLKPhase = SPI_PHASE_1EDGE;
  hspi3.Init.NSS = SPI_NSS_SOFT;
  hspi3.Init.BaudRatePrescaler = SPI_BAUDRATEPRESCALER_8;
  hspi3.Init.FirstBit = SPI_FIRSTBIT_MSB;
  hspi3.Init.TIMode = SPI_TIMODE_DISABLE;
  hspi3.Init.CRCCalculation = SPI_CRCCALCULATION_DISABLE;
  hspi3.Init.CRCPolynomial = 0x0;
  hspi3.Init.NSSPMode = SPI_NSS_PULSE_ENABLE;
  hspi3.Init.NSSPolarity = SPI_NSS_POLARITY_LOW;
  hspi3.Init.FifoThreshold = SPI_FIFO_THRESHOLD_01DATA;
  hspi3.Init.TxCRCInitializationPattern = SPI_CRC_INITIALIZATION_ALL_ZERO_PATTERN;
  hspi3.Init.RxCRCInitializationPattern = SPI_CRC_INITIALIZATION_ALL_ZERO_PATTERN;
  hspi3.Init.MasterSSIdleness = SPI_MASTER_SS_IDLENESS_00CYCLE;
  hspi3.Init.MasterInterDataIdleness = SPI_MASTER_INTERDATA_IDLENESS_00CYCLE;
  hspi3.Init.MasterReceiverAutoSusp = SPI_MASTER_RX_AUTOSUSP_DISABLE;
  hspi3.Init.MasterKeepIOState = SPI_MASTER_KEEP_IO_STATE_DISABLE;
  hspi3.Init.IOSwap = SPI_IO_SWAP_DISABLE;
  if (HAL_SPI_Init(&hspi3) != HAL_OK)
  {
    Error_Handler();
  }

}

static void MX_SPI5_Init(void)
{

  /* SPI5 parameter configuration*/
  hspi5.Instance = SPI5;
  hspi5.Init.Mode = SPI_MODE_MASTER;
  hspi5.Init.Direction = SPI_DIRECTION_2LINES;
  hspi5.Init.DataSize = SPI_DATASIZE_8BIT;
  hspi5.Init.CLKPolarity = SPI_POLARITY_LOW;
  hspi5.Init.CLKPhase = SPI_PHASE_1EDGE;
  hspi5.Init.NSS = SPI_NSS_SOFT;
  hspi5.Init.BaudRatePrescaler = SPI_BAUDRATEPRESCALER_8;
  hspi5.Init.FirstBit = SPI_FIRSTBIT_MSB;
  hspi5.Init.TIMode = SPI_TIMODE_DISABLE;
  hspi5.Init.CRCCalculation = SPI_CRCCALCULATION_DISABLE;
  hspi5.Init.CRCPolynomial = 0x0;
  hspi5.Init.NSSPMode = SPI_NSS_PULSE_ENABLE;
  hspi5.Init.NSSPolarity = SPI_NSS_POLARITY_LOW;
  hspi5.Init.FifoThreshold = SPI_FIFO_THRESHOLD_01DATA;
  hspi5.Init.TxCRCInitializationPattern = SPI_CRC_INITIALIZATION_ALL_ZERO_PATTERN;
  hspi5.Init.RxCRCInitializationPattern = SPI_CRC_INITIALIZATION_ALL_ZERO_PATTERN;
  hspi5.Init.MasterSSIdleness = SPI_MASTER_SS_IDLENESS_00CYCLE;
  hspi5.Init.MasterInterDataIdleness = SPI_MASTER_INTERDATA_IDLENESS_00CYCLE;
  hspi5.Init.MasterReceiverAutoSusp = SPI_MASTER_RX_AUTOSUSP_DISABLE;
  hspi5.Init.MasterKeepIOState = SPI_MASTER_KEEP_IO_STATE_DISABLE;
  hspi5.Init.IOSwap = SPI_IO_SWAP_DISABLE;
  if (HAL_SPI_Init(&hspi5) != HAL_OK)
  {
    Error_Handler();
  }

}

static void MX_SPI6_Init(void)
{

  /* SPI6 parameter configuration*/
  hspi6.Instance = SPI6;
  hspi6.Init.Mode = SPI_MODE_MASTER;
  hspi6.Init.Direction = SPI_DIRECTION_2LINES;
  hspi6.Init.DataSize = SPI_DATASIZE_8BIT;
  hspi6.Init.CLKPolarity = SPI_POLARITY_LOW;
  hspi6.Init.CLKPhase = SPI_PHASE_1EDGE;
  hspi6.Init.NSS = SPI_NSS_SOFT;
  hspi6.Init.BaudRatePrescaler = SPI_BAUDRATEPRESCALER_8;
  hspi6.Init.FirstBit = SPI_FIRSTBIT_MSB;
  hspi6.Init.TIMode = SPI_TIMODE_DISABLE;
  hspi6.Init.CRCCalculation = SPI_CRCCALCULATION_DISABLE;
  hspi6.Init.CRCPolynomial = 0x0;
  hspi6.Init.NSSPMode = SPI_NSS_PULSE_ENABLE;
  hspi6.Init.NSSPolarity = SPI_NSS_POLARITY_LOW;
  hspi6.Init.FifoThreshold = SPI_FIFO_THRESHOLD_01DATA;
  hspi6.Init.TxCRCInitializationPattern = SPI_CRC_INITIALIZATION_ALL_ZERO_PATTERN;
  hspi6.Init.RxCRCInitializationPattern = SPI_CRC_INITIALIZATION_ALL_ZERO_PATTERN;
  hspi6.Init.MasterSSIdleness = SPI_MASTER_SS_IDLENESS_00CYCLE;
  hspi6.Init.MasterInterDataIdleness = SPI_MASTER_INTERDATA_IDLENESS_00CYCLE;
  hspi6.Init.MasterReceiverAutoSusp = SPI_MASTER_RX_AUTOSUSP_DISABLE;
  hspi6.Init.MasterKeepIOState = SPI_MASTER_KEEP_IO_STATE_DISABLE;
  hspi6.Init.IOSwap = SPI_IO_SWAP_DISABLE;
  if (HAL_SPI_Init(&hspi6) != HAL_OK)
  {
    Error_Handler();
  }

}

static void MX_TIM2_Init(void)
{

  TIM_ClockConfigTypeDef sClockSourceConfig = {0};
  TIM_MasterConfigTypeDef sMasterConfig = {0};

  htim2.Instance = TIM2;
  htim2.Init.Prescaler = 2750 - 1;
  htim2.Init.CounterMode = TIM_COUNTERMODE_UP;
  htim2.Init.Period = 10 - 1;
  htim2.Init.ClockDivision = TIM_CLOCKDIVISION_DIV1;
  htim2.Init.AutoReloadPreload = TIM_AUTORELOAD_PRELOAD_DISABLE;
  if (HAL_TIM_Base_Init(&htim2) != HAL_OK)
  {
    Error_Handler();
  }
  sClockSourceConfig.ClockSource = TIM_CLOCKSOURCE_INTERNAL;
  if (HAL_TIM_ConfigClockSource(&htim2, &sClockSourceConfig) != HAL_OK)
  {
    Error_Handler();
  }
  sMasterConfig.MasterOutputTrigger = TIM_TRGO_RESET;
  sMasterConfig.MasterSlaveMode = TIM_MASTERSLAVEMODE_DISABLE;
  if (HAL_TIMEx_MasterConfigSynchronization(&htim2, &sMasterConfig) != HAL_OK)
  {
    Error_Handler();
  }

}

static void MX_TIM3_Init(void)
{

  TIM_ClockConfigTypeDef sClockSourceConfig = {0};
  TIM_MasterConfigTypeDef sMasterConfig = {0};

  htim3.Instance = TIM3;
  htim3.Init.Prescaler = 27500 - 1;
  htim3.Init.CounterMode = TIM_COUNTERMODE_UP;
  htim3.Init.Period = 50 - 1;
  htim3.Init.ClockDivision = TIM_CLOCKDIVISION_DIV1;
  htim3.Init.AutoReloadPreload = TIM_AUTORELOAD_PRELOAD_DISABLE;
  if (HAL_TIM_Base_Init(&htim3) != HAL_OK)
  {
    Error_Handler();
  }
  sClockSourceConfig.ClockSource = TIM_CLOCKSOURCE_INTERNAL;
  if (HAL_TIM_ConfigClockSource(&htim3, &sClockSourceConfig) != HAL_OK)
  {
    Error_Handler();
  }
  sMasterConfig.MasterOutputTrigger = TIM_TRGO_RESET;
  sMasterConfig.MasterSlaveMode = TIM_MASTERSLAVEMODE_DISABLE;
  if (HAL_TIMEx_MasterConfigSynchronization(&htim3, &sMasterConfig) != HAL_OK)
  {
    Error_Handler();
  }

}

static void MX_TIM5_Init(void)
{

  TIM_ClockConfigTypeDef sClockSourceConfig = {0};
  TIM_MasterConfigTypeDef sMasterConfig = {0};

  htim5.Instance = TIM5;
  htim5.Init.Prescaler = 275 - 1;
  htim5.Init.CounterMode = TIM_COUNTERMODE_UP;
  htim5.Init.Period = 1000000000 - 1;
  htim5.Init.ClockDivision = TIM_CLOCKDIVISION_DIV1;
  htim5.Init.AutoReloadPreload = TIM_AUTORELOAD_PRELOAD_DISABLE;
  if (HAL_TIM_Base_Init(&htim5) != HAL_OK)
  {
    Error_Handler();
  }
  sClockSourceConfig.ClockSource = TIM_CLOCKSOURCE_INTERNAL;
  if (HAL_TIM_ConfigClockSource(&htim5, &sClockSourceConfig) != HAL_OK)
  {
    Error_Handler();
  }
  sMasterConfig.MasterOutputTrigger = TIM_TRGO_RESET;
  sMasterConfig.MasterSlaveMode = TIM_MASTERSLAVEMODE_DISABLE;
  if (HAL_TIMEx_MasterConfigSynchronization(&htim5, &sMasterConfig) != HAL_OK)
  {
    Error_Handler();
  }

}

static void MX_TIM15_Init(void)
{

  TIM_ClockConfigTypeDef sClockSourceConfig = {0};
  TIM_MasterConfigTypeDef sMasterConfig = {0};

  htim15.Instance = TIM15;
  htim15.Init.Prescaler = 1000 - 1;
  htim15.Init.CounterMode = TIM_COUNTERMODE_UP;
  htim15.Init.Period = 1000 - 1;
  htim15.Init.ClockDivision = TIM_CLOCKDIVISION_DIV1;
  htim15.Init.RepetitionCounter = 0;
  htim15.Init.AutoReloadPreload = TIM_AUTORELOAD_PRELOAD_DISABLE;
  if (HAL_TIM_Base_Init(&htim15) != HAL_OK)
  {
    Error_Handler();
  }
  sClockSourceConfig.ClockSource = TIM_CLOCKSOURCE_INTERNAL;
  if (HAL_TIM_ConfigClockSource(&htim15, &sClockSourceConfig) != HAL_OK)
  {
    Error_Handler();
  }
  sMasterConfig.MasterOutputTrigger = TIM_TRGO_RESET;
  sMasterConfig.MasterSlaveMode = TIM_MASTERSLAVEMODE_DISABLE;
  if (HAL_TIMEx_MasterConfigSynchronization(&htim15, &sMasterConfig) != HAL_OK)
  {
    Error_Handler();
  }

}

static void MX_USB_OTG_HS_PCD_Init(void)
{

  hpcd_USB_OTG_HS.Instance = USB_OTG_HS;
  hpcd_USB_OTG_HS.Init.dev_endpoints = 9;
  hpcd_USB_OTG_HS.Init.speed = PCD_SPEED_FULL;
  hpcd_USB_OTG_HS.Init.dma_enable = DISABLE;
  hpcd_USB_OTG_HS.Init.phy_itface = USB_OTG_EMBEDDED_PHY;
  hpcd_USB_OTG_HS.Init.Sof_enable = DISABLE;
  hpcd_USB_OTG_HS.Init.low_power_enable = DISABLE;
  hpcd_USB_OTG_HS.Init.lpm_enable = DISABLE;
  hpcd_USB_OTG_HS.Init.vbus_sensing_enable = DISABLE;
  hpcd_USB_OTG_HS.Init.use_dedicated_ep1 = DISABLE;
  hpcd_USB_OTG_HS.Init.use_external_vbus = DISABLE;
  if (HAL_PCD_Init(&hpcd_USB_OTG_HS) != HAL_OK)
  {
    Error_Handler();
  }

}

static void MX_DMA_Init(void)
{

  /* DMA controller clock enable */
  __HAL_RCC_DMA1_CLK_ENABLE();
  __HAL_RCC_DMA2_CLK_ENABLE();

  /* DMA interrupt init */
  /* DMA1_Stream0_IRQn interrupt configuration */
  HAL_NVIC_SetPriority(DMA1_Stream0_IRQn, 5, 0);
  HAL_NVIC_EnableIRQ(DMA1_Stream0_IRQn);
  /* DMA1_Stream1_IRQn interrupt configuration */
  HAL_NVIC_SetPriority(DMA1_Stream1_IRQn, 5, 0);
  HAL_NVIC_EnableIRQ(DMA1_Stream1_IRQn);
  /* DMA2_Stream0_IRQn interrupt configuration */
  HAL_NVIC_SetPriority(DMA2_Stream0_IRQn, 5, 0);
  HAL_NVIC_EnableIRQ(DMA2_Stream0_IRQn);

}

static void MX_GPIO_Init(void)
{
  GPIO_InitTypeDef GPIO_InitStruct = {0};

  /* GPIO Ports Clock Enable */
  __HAL_RCC_GPIOE_CLK_ENABLE();
  __HAL_RCC_GPIOC_CLK_ENABLE();
  __HAL_RCC_GPIOF_CLK_ENABLE();
  __HAL_RCC_GPIOH_CLK_ENABLE();
  __HAL_RCC_GPIOA_CLK_ENABLE();
  __HAL_RCC_GPIOB_CLK_ENABLE();
  __HAL_RCC_GPIOD_CLK_ENABLE();
  __HAL_RCC_GPIOG_CLK_ENABLE();

  /*Configure GPIO pin Output Level */
  HAL_GPIO_WritePin(GPIOE, INTERCONN_1_C_Pin|INTERCONN_2_A_Pin|INTERCONN_2_B_Pin|INTERCONN_2_C_Pin
                          |INTERCONN_1_A_Pin|INTERCONN_1_B_Pin, GPIO_PIN_RESET);

  /*Configure GPIO pin Output Level */
  HAL_GPIO_WritePin(GPIOC, TIME_MARKER_1_Pin|TIME_MARKER_2_Pin, GPIO_PIN_RESET);

  /*Configure GPIO pin Output Level */
  HAL_GPIO_WritePin(GPIOF, TIME_MARKER_3_Pin|TIME_MARKER_4_Pin, GPIO_PIN_RESET);

  /*Configure GPIO pin Output Level */
  HAL_GPIO_WritePin(FLASH_CS_4_GPIO_Port, FLASH_CS_4_Pin, GPIO_PIN_SET);

  /*Configure GPIO pin Output Level */
  HAL_GPIO_WritePin(INTERCONN_ACK_GPIO_Port, INTERCONN_ACK_Pin, GPIO_PIN_RESET);

  /*Configure GPIO pin Output Level */
  HAL_GPIO_WritePin(GPIOD, FLASH_CS_8_Pin|FLASH_CS_3_Pin|FLASH_CS_7_Pin, GPIO_PIN_SET);

  /*Configure GPIO pin Output Level */
  HAL_GPIO_WritePin(GPIOG, FLASH_CS_2_Pin|FLASH_CS_6_Pin|FLASH_CS_5_Pin|FLASH_CS_1_Pin
                          |STATUS_LED_4_Pin|STATUS_LED_3_Pin|STATUS_LED_2_Pin|STATUS_LED_1_Pin, GPIO_PIN_SET);

  /*Configure GPIO pin Output Level */
  HAL_GPIO_WritePin(EX_HEART_BEAT_GPIO_Port, EX_HEART_BEAT_Pin, GPIO_PIN_SET);

  /*Configure GPIO pins : INTERCONN_1_C_Pin INTERCONN_2_A_Pin INTERCONN_2_B_Pin INTERCONN_2_C_Pin
                           INTERCONN_1_A_Pin INTERCONN_1_B_Pin */
  GPIO_InitStruct.Pin = INTERCONN_1_C_Pin|INTERCONN_2_A_Pin|INTERCONN_2_B_Pin|INTERCONN_2_C_Pin
                          |INTERCONN_1_A_Pin|INTERCONN_1_B_Pin;
  GPIO_InitStruct.Mode = GPIO_MODE_OUTPUT_PP;
  GPIO_InitStruct.Pull = GPIO_NOPULL;
  GPIO_InitStruct.Speed = GPIO_SPEED_FREQ_LOW;
  HAL_GPIO_Init(GPIOE, &GPIO_InitStruct);

  /*Configure GPIO pins : TIME_MARKER_1_Pin TIME_MARKER_2_Pin */
  GPIO_InitStruct.Pin = TIME_MARKER_1_Pin|TIME_MARKER_2_Pin;
  GPIO_InitStruct.Mode = GPIO_MODE_OUTPUT_PP;
  GPIO_InitStruct.Pull = GPIO_NOPULL;
  GPIO_InitStruct.Speed = GPIO_SPEED_FREQ_LOW;
  HAL_GPIO_Init(GPIOC, &GPIO_InitStruct);

  /*Configure GPIO pins : TIME_MARKER_3_Pin TIME_MARKER_4_Pin */
  GPIO_InitStruct.Pin = TIME_MARKER_3_Pin|TIME_MARKER_4_Pin;
  GPIO_InitStruct.Mode = GPIO_MODE_OUTPUT_PP;
  GPIO_InitStruct.Pull = GPIO_NOPULL;
  GPIO_InitStruct.Speed = GPIO_SPEED_FREQ_LOW;
  HAL_GPIO_Init(GPIOF, &GPIO_InitStruct);

  /*Configure GPIO pins : IN_CV_2_Pin _1V_OCT_2b_Pin PF14 */
  GPIO_InitStruct.Pin = IN_CV_2_Pin|_1V_OCT_2b_Pin|GPIO_PIN_14;
  GPIO_InitStruct.Mode = GPIO_MODE_ANALOG;
  GPIO_InitStruct.Pull = GPIO_NOPULL;
  HAL_GPIO_Init(GPIOF, &GPIO_InitStruct);

  /*Configure GPIO pin : FLASH_CS_4_Pin */
  GPIO_InitStruct.Pin = FLASH_CS_4_Pin;
  GPIO_InitStruct.Mode = GPIO_MODE_OUTPUT_PP;
  GPIO_InitStruct.Pull = GPIO_NOPULL;
  GPIO_InitStruct.Speed = GPIO_SPEED_FREQ_MEDIUM;
  HAL_GPIO_Init(FLASH_CS_4_GPIO_Port, &GPIO_InitStruct);

  /*Configure GPIO pin : INTERCONN_REQ_Pin */
  GPIO_InitStruct.Pin = INTERCONN_REQ_Pin;
  GPIO_InitStruct.Mode = GPIO_MODE_IT_RISING_FALLING;
  GPIO_InitStruct.Pull = GPIO_NOPULL;
  HAL_GPIO_Init(INTERCONN_REQ_GPIO_Port, &GPIO_InitStruct);

  /*Configure GPIO pin : INTERCONN_ACK_Pin */
  GPIO_InitStruct.Pin = INTERCONN_ACK_Pin;
  GPIO_InitStruct.Mode = GPIO_MODE_OUTPUT_PP;
  GPIO_InitStruct.Pull = GPIO_PULLDOWN;
  GPIO_InitStruct.Speed = GPIO_SPEED_FREQ_MEDIUM;
  HAL_GPIO_Init(INTERCONN_ACK_GPIO_Port, &GPIO_InitStruct);

  /*Configure GPIO pin : INTERCONN_RESET_Pin */
  GPIO_InitStruct.Pin = INTERCONN_RESET_Pin;
  GPIO_InitStruct.Mode = GPIO_MODE_IT_FALLING;
  GPIO_InitStruct.Pull = GPIO_NOPULL;
  HAL_GPIO_Init(INTERCONN_RESET_GPIO_Port, &GPIO_InitStruct);

  /*Configure GPIO pins : FLASH_CS_8_Pin FLASH_CS_3_Pin FLASH_CS_7_Pin */
  GPIO_InitStruct.Pin = FLASH_CS_8_Pin|FLASH_CS_3_Pin|FLASH_CS_7_Pin;
  GPIO_InitStruct.Mode = GPIO_MODE_OUTPUT_PP;
  GPIO_InitStruct.Pull = GPIO_NOPULL;
  GPIO_InitStruct.Speed = GPIO_SPEED_FREQ_MEDIUM;
  HAL_GPIO_Init(GPIOD, &GPIO_InitStruct);

  /*Configure GPIO pins : FLASH_CS_2_Pin FLASH_CS_6_Pin FLASH_CS_5_Pin FLASH_CS_1_Pin */
  GPIO_InitStruct.Pin = FLASH_CS_2_Pin|FLASH_CS_6_Pin|FLASH_CS_5_Pin|FLASH_CS_1_Pin;
  GPIO_InitStruct.Mode = GPIO_MODE_OUTPUT_PP;
  GPIO_InitStruct.Pull = GPIO_NOPULL;
  GPIO_InitStruct.Speed = GPIO_SPEED_FREQ_MEDIUM;
  HAL_GPIO_Init(GPIOG, &GPIO_InitStruct);

  /*Configure GPIO pin : EX_HEART_BEAT_Pin */
  GPIO_InitStruct.Pin = EX_HEART_BEAT_Pin;
  GPIO_InitStruct.Mode = GPIO_MODE_OUTPUT_OD;
  GPIO_InitStruct.Pull = GPIO_NOPULL;
  GPIO_InitStruct.Speed = GPIO_SPEED_FREQ_LOW;
  HAL_GPIO_Init(EX_HEART_BEAT_GPIO_Port, &GPIO_InitStruct);

  /*Configure GPIO pins : STATUS_LED_4_Pin STATUS_LED_3_Pin STATUS_LED_2_Pin STATUS_LED_1_Pin */
  GPIO_InitStruct.Pin = STATUS_LED_4_Pin|STATUS_LED_3_Pin|STATUS_LED_2_Pin|STATUS_LED_1_Pin;
  GPIO_InitStruct.Mode = GPIO_MODE_OUTPUT_OD;
  GPIO_InitStruct.Pull = GPIO_NOPULL;
  GPIO_InitStruct.Speed = GPIO_SPEED_FREQ_LOW;
  HAL_GPIO_Init(GPIOG, &GPIO_InitStruct);

  /*Configure GPIO pins : NERVENET_1_Pin NERVENET_6_Pin NERVENET_2_Pin NERVENET_5_Pin
                           NERVENET_3_Pin NERVENET_4_Pin */
  GPIO_InitStruct.Pin = NERVENET_1_Pin|NERVENET_6_Pin|NERVENET_2_Pin|NERVENET_5_Pin
                          |NERVENET_3_Pin|NERVENET_4_Pin;
  GPIO_InitStruct.Mode = GPIO_MODE_INPUT;
  GPIO_InitStruct.Pull = GPIO_NOPULL;
  HAL_GPIO_Init(GPIOB, &GPIO_InitStruct);

  /* EXTI interrupt init*/
  HAL_NVIC_SetPriority(INTERCONN_REQ_EXTI_IRQn, 5, 0);
  HAL_NVIC_EnableIRQ(INTERCONN_REQ_EXTI_IRQn);

  HAL_NVIC_SetPriority(INTERCONN_RESET_EXTI_IRQn, 5, 0);
  HAL_NVIC_EnableIRQ(INTERCONN_RESET_EXTI_IRQn);

}

/* USER CODE BEGIN 4 */

extern CasualNoises::NerveNetMasterThread* gNerveNetMasterThreadPtr[MAX_NO_OF_NERVENET_MASTER_THREADS];
extern CasualNoises::NerveNetSlaveThread* gNerveNetSlaveThreadPtr[MAX_NO_OF_NERVENET_SLAVE_THREADS];

/* USER CODE END 4 */

void StartDefaultTask(void *argument)
{
  /* USER CODE BEGIN 5 */

	// Sweep the status led's as a sign of live...
	displayStatus( (eStatusCodes)0x01 );
	osDelay(100);
	displayStatus( (eStatusCodes)0x02 );
	osDelay(100);
	displayStatus( (eStatusCodes)0x04 );
	osDelay(100);
	displayStatus( (eStatusCodes)0x08 );
	osDelay(100);
	displayStatus(scStartingUp);

    // Get the amount of free heap memory
    size_t xFreeHeapSize = xPortGetFreeHeapSize();
    UNUSED(xFreeHeapSize);
/*																							ToDo remove comment
    // Create a trigger thread to toggle TimeMarker_1
#ifdef CASUALNOISES_TRIGGER_THREAD
	TaskHandle_t xHandle;
	BaseType_t _res = xTaskCreate(CasualNoises::TriggerThread, "TriggerThread", 32, nullptr,
			TRIGGER_THREAD_PRIORITY, &xHandle);
	if (_res != pdPASS)
		CN_ReportFault(eErrorCodes::runtimeError);
#endif
*/
	// There are no NerveNet threads running yet
	for (uint32_t i = 0; i < MAX_NO_OF_NERVENET_MASTER_THREADS; ++i)
		gNerveNetMasterThreadPtr[i] = nullptr;
	for (uint32_t i = 0; i < MAX_NO_OF_NERVENET_SLAVE_THREADS; ++i)
		gNerveNetSlaveThreadPtr[i] = nullptr;

	// Create a thread to manage TLV's in flash memory
	CasualNoises::sNVM_DriverInitData NVM_Data;
	NVM_Data.noOfDevices 			= 8;
	NVM_Data.hspix_ptr				= &hspi1;
	NVM_Data.deviceSelectPorts[0]	= FLASH_CS_1_GPIO_Port;
	NVM_Data.deviceSelectPins[0]	= FLASH_CS_1_Pin;
	NVM_Data.deviceSelectPorts[1]	= FLASH_CS_2_GPIO_Port;
	NVM_Data.deviceSelectPins[1]	= FLASH_CS_2_Pin;
	NVM_Data.deviceSelectPorts[2]	= FLASH_CS_3_GPIO_Port;
	NVM_Data.deviceSelectPins[2]	= FLASH_CS_3_Pin;
	NVM_Data.deviceSelectPorts[3]	= FLASH_CS_4_GPIO_Port;
	NVM_Data.deviceSelectPins[3]	= FLASH_CS_4_Pin;
	NVM_Data.deviceSelectPorts[4]	= FLASH_CS_5_GPIO_Port;
	NVM_Data.deviceSelectPins[4]	= FLASH_CS_5_Pin;
	NVM_Data.deviceSelectPorts[5]	= FLASH_CS_6_GPIO_Port;
	NVM_Data.deviceSelectPins[5]	= FLASH_CS_6_Pin;
	NVM_Data.deviceSelectPorts[6]	= FLASH_CS_7_GPIO_Port;
	NVM_Data.deviceSelectPins[6]	= FLASH_CS_7_Pin;
	NVM_Data.deviceSelectPorts[7]	= FLASH_CS_8_GPIO_Port;
	NVM_Data.deviceSelectPins[7]	= FLASH_CS_8_Pin;
	CasualNoises::W25Qxx_Driver* NVM_DriverPtr = new CasualNoises::W25Qxx_Driver ( &NVM_Data );
	BaseType_t res;
	CasualNoises::sTLV_DriverThreadParams _sTLV_DriverThreadParams;
	TaskHandle_t xTLV_DriverThreadHandle;
	_sTLV_DriverThreadParams.NVM_DriverPtr 	= NVM_DriverPtr;
	_sTLV_DriverThreadParams.runningFlagPtr	= &CasualNoises::gYellowPages.gTLV_DriverThreadThreadRunning;
	_sTLV_DriverThreadParams.queueHandlePtr	= &CasualNoises::gYellowPages.gTLV_DriverThreadQueueHandle;
	res = startTLV_DriverThread ( &_sTLV_DriverThreadParams, &xTLV_DriverThreadHandle );
	if ( res != pdPASS )
		CN_ReportFault ( eErrorCodes::UI_ThreadError );

	osDelay ( pdMS_TO_TICKS ( 100 ) );

	// Create an audio thread and run it
	CasualNoises::SouthSideAudioProcessor* audioProcessorPtr = CasualNoises::SouthSideAudioProcessor::getSouthSideAudioProcessor ();
	audioProcessorPtr->prepareToPlay ( SAMPLE_FREQUENCY, NUM_SAMPLES );

	// Start NerveNet slave thread connection to the North Side
	uint32_t performanceResult = 0;
	static CasualNoises::sNerveNetThreadData nerveNetThreadData;
	nerveNetThreadData.NerveNetThreadNo			= 0;
	nerveNetThreadData.NerveNet_REQ_Port		= INTERCONN_REQ_GPIO_Port;
	nerveNetThreadData.NerveNet_REQ_Pin			= INTERCONN_REQ_Pin;
	nerveNetThreadData.NerveNet_ACK_Port		= INTERCONN_ACK_GPIO_Port;
	nerveNetThreadData.NerveNet_ACK_Pin			= INTERCONN_ACK_Pin;
	nerveNetThreadData.NerveNet_RESET_Port		= INTERCONN_RESET_GPIO_Port;
	nerveNetThreadData.NerveNet_RESET_Pin		= INTERCONN_RESET_Pin;
	nerveNetThreadData.NerveNet_SPI_Ptr			= &hspi2;
	nerveNetThreadData.AudioProcessorPtr		= audioProcessorPtr;
	nerveNetThreadData.PerformanceTestTimerPtr	= &htim5;
	nerveNetThreadData.PerformanceResultPtr		= &performanceResult;
	static TaskHandle_t xHandlePtr;
	static CasualNoises::NerveNetSlaveThread nerveNetSlaveThread;
	res = CasualNoises::startNerveNetSlaveThread ( &nerveNetSlaveThread, &nerveNetThreadData, &xHandlePtr );
	if (res != pdPASS)
		CN_ReportFault(eErrorCodes::NerveNetThread_Error);

	// Create an ADC handler thread - CV inputs are also handled by the North Side
	TaskHandle_t xADC_ThreadHandle;
	CasualNoises::sADC_ThreadData ADC_ThreadData;
	ADC_ThreadData.hadc					= &hadc1;
	ADC_ThreadData.ADC_DataHandlerPtr	= audioProcessorPtr;
	res = CasualNoises::startADC_Thread((void *)&ADC_ThreadData, &xADC_ThreadHandle);
	if (res != pdPASS)
		CN_ReportFault(eErrorCodes::UI_ThreadError);

	// Update status led's
	displayStatus ( scReady );

	/* Infinite loop */
	for(;;)
	{
		HAL_GPIO_WritePin ( EX_HEART_BEAT_GPIO_Port, EX_HEART_BEAT_Pin, GPIO_PIN_RESET );
		osDelay ( pdMS_TO_TICKS ( 100 ) );
		HAL_GPIO_WritePin ( EX_HEART_BEAT_GPIO_Port, EX_HEART_BEAT_Pin, GPIO_PIN_SET );
		osDelay ( pdMS_TO_TICKS ( 100 ) );
		HAL_GPIO_WritePin(EX_HEART_BEAT_GPIO_Port, EX_HEART_BEAT_Pin, GPIO_PIN_RESET);
		osDelay( pdMS_TO_TICKS ( 100 ) );
		HAL_GPIO_WritePin ( EX_HEART_BEAT_GPIO_Port, EX_HEART_BEAT_Pin, GPIO_PIN_SET );
		osDelay ( pdMS_TO_TICKS ( 700 ) );
		xFreeHeapSize = xPortGetFreeHeapSize();
	}
  /* USER CODE END 5 */
}

 /* MPU Configuration */

void MPU_Config(void)
{
  MPU_Region_InitTypeDef MPU_InitStruct = {0};

  /* Disables the MPU */
  HAL_MPU_Disable();

  /** Initializes and configures the Region and the memory to be protected
  */
  MPU_InitStruct.Enable = MPU_REGION_ENABLE;
  MPU_InitStruct.Number = MPU_REGION_NUMBER0;
  MPU_InitStruct.BaseAddress = 0x0;
  MPU_InitStruct.Size = MPU_REGION_SIZE_4GB;
  MPU_InitStruct.SubRegionDisable = 0x87;
  MPU_InitStruct.TypeExtField = MPU_TEX_LEVEL0;
  MPU_InitStruct.AccessPermission = MPU_REGION_NO_ACCESS;
  MPU_InitStruct.DisableExec = MPU_INSTRUCTION_ACCESS_DISABLE;
  MPU_InitStruct.IsShareable = MPU_ACCESS_SHAREABLE;
  MPU_InitStruct.IsCacheable = MPU_ACCESS_NOT_CACHEABLE;
  MPU_InitStruct.IsBufferable = MPU_ACCESS_NOT_BUFFERABLE;

  HAL_MPU_ConfigRegion(&MPU_InitStruct);
  /* Enables the MPU */
  HAL_MPU_Enable(MPU_PRIVILEGED_DEFAULT);

}

void HAL_TIM_PeriodElapsedCallback(TIM_HandleTypeDef *htim)
{
  if (htim->Instance == TIM1)
  {
    HAL_IncTick();
  }
  /* USER CODE BEGIN Callback 1 */

	if (htim->Instance == TIM1)
	{
		return;
	} else
	{
		CN_TIM_PeriodElapsedCallback ( htim );
	}

  /* USER CODE END Callback 1 */
}

void Error_Handler(void)
{
  __disable_irq();
  while (1)
  {
  }
}
